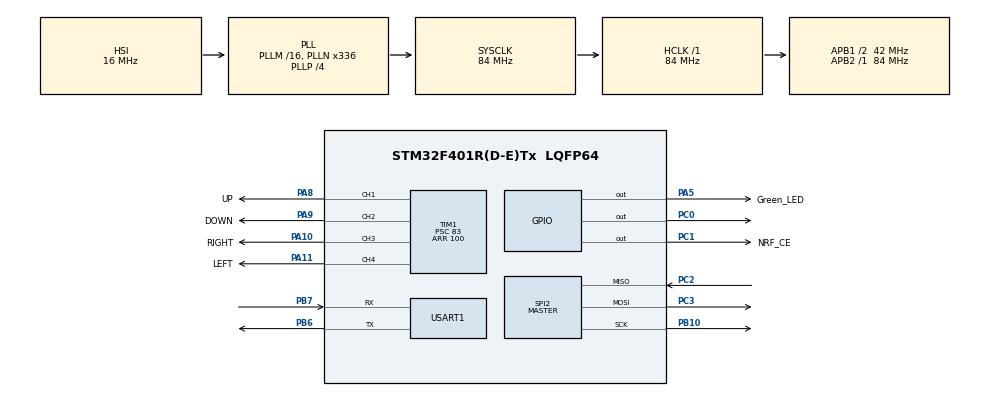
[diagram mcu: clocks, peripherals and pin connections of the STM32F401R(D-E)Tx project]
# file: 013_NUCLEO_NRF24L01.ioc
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Mcu.Family=STM32F4
Mcu.Name=STM32F401R(D-E)Tx
Mcu.Package=LQFP64
NVIC.PriorityGroup=NVIC_PRIORITYGROUP_0
NVIC.SPI2_IRQn=true\:0\:0\:false\:false\:true\:true\:true
PA10.GPIO_Label=RIGHT
PA10.Signal=S_TIM1_CH3
PA11.GPIO_Label=LEFT
PA11.Signal=S_TIM1_CH4
PA5.GPIO_Label=Green_LED
PA5.GPIO_PuPd=GPIO_NOPULL
PA5.GPIO_Speed=GPIO_SPEED_FREQ_LOW
PA5.Signal=GPIO_Output
PA8.GPIO_Label=UP
PA8.Signal=S_TIM1_CH1
PA9.GPIO_Label=DOWN
PA9.Signal=S_TIM1_CH2
PB10.Mode=Full_Duplex_Master
PB10.Signal=SPI2_SCK
PB6.Mode=Asynchronous
PB6.Signal=USART1_TX
PB7.Mode=Asynchronous
PB7.Signal=USART1_RX
PC0.Signal=GPIO_Output
PC1.GPIO_Label=NRF_CE
PC1.Signal=GPIO_Output
PC2.Mode=Full_Duplex_Master
PC2.Signal=SPI2_MISO
PC3.Mode=Full_Duplex_Master
PC3.Signal=SPI2_MOSI
ProjectManager.HeapSize=0x200
ProjectManager.StackSize=0x400
ProjectManager.TargetToolchain=MDK-ARM V5.32
RCC.AHBFreq_Value=84000000
RCC.APB1CLKDivider=RCC_HCLK_DIV2
RCC.APB1Freq_Value=42000000
RCC.APB1TimFreq_Value=84000000
RCC.APB2Freq_Value=84000000
RCC.APB2TimFreq_Value=84000000
RCC.CortexFreq_Value=84000000
RCC.HCLKFreq_Value=84000000
RCC.HSE_VALUE=8000000
RCC.HSI_VALUE=16000000
RCC.LSE_VALUE=32768
RCC.PLLN=336
RCC.PLLP=RCC_PLLP_DIV4
RCC.PLLQ=7
RCC.SYSCLKFreq_VALUE=84000000
RCC.SYSCLKSource=RCC_SYSCLKSOURCE_PLLCLK
RCC.VCOOutputFreq_Value=336000000
SH.S_TIM1_CH1.0=TIM1_CH1,PWM Generation1 CH1
SH.S_TIM1_CH2.0=TIM1_CH2,PWM Generation2 CH2
SH.S_TIM1_CH3.0=TIM1_CH3,PWM Generation3 CH3
SH.S_TIM1_CH4.0=TIM1_CH4,PWM Generation4 CH4
SPI2.BaudRatePrescaler=SPI_BAUDRATEPRESCALER_8
SPI2.Direction=SPI_DIRECTION_2LINES
SPI2.Mode=SPI_MODE_MASTER
SPI2.VirtualType=VM_MASTER
TIM1.Channel-PWM\ Generation1\ CH1=TIM_CHANNEL_1
TIM1.Channel-PWM\ Generation2\ CH2=TIM_CHANNEL_2
TIM1.Channel-PWM\ Generation3\ CH3=TIM_CHANNEL_3
TIM1.Channel-PWM\ Generation4\ CH4=TIM_CHANNEL_4
TIM1.Period=100
TIM1.Prescaler=83
USART1.VirtualMode=VM_ASYNC
board=NUCLEO-F401RE

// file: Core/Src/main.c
/* USER CODE BEGIN Header */
/**
  ******************************************************************************
  * @file           : main.c
  * @brief          : Main program body
  ******************************************************************************
  * @attention
  *
  * <h2><center>&copy; Copyright (c) 2021 STMicroelectronics.
  * All rights reserved.</center></h2>
  *
  * This software component is licensed by ST under BSD 3-Clause license,
  * the "License"; You may not use this file except in compliance with the
  * License. You may obtain a copy of the License at:
  *                        opensource.org/licenses/BSD-3-Clause
  *
  ******************************************************************************
  */
/* USER CODE END Header */
#include "main.h"
#include "spi.h"
#include "tim.h"
#include "usart.h"
#include "gpio.h"

/* USER CODE BEGIN Includes */
#include "nrf24l01.h"
#include "pwm.h"

/* USER CODE END Includes */

/* USER CODE BEGIN PV */
  uint8_t RxAddresses[]={0xEE,0xDD,0xCC,0xBB,0xAA}; // based on datasheet. It has to be same with TxAdress on Transceiver
	uint8_t RxData[2]; //same with transmitted data packet

/* USER CODE END PV */

void SystemClock_Config(void);

int main(void)
{

  /* MCU Configuration--------------------------------------------------------*/

  /* Reset of all peripherals, Initializes the Flash interface and the Systick. */
  HAL_Init();

  /* Configure the system clock */
  SystemClock_Config();

  /* Initialize all configured peripherals */
  MX_GPIO_Init();
  MX_SPI2_Init();
  MX_USART1_UART_Init();
  MX_TIM1_Init();
  /* USER CODE BEGIN 2 */

	nrf24_Init(); //Init NRF24L01

  nrf24_RxMode(RxAddresses,10); //Set Nrf24L01 as Receiver

	//Starting alll channels of tim1
	HAL_TIM_PWM_Start(&htim1,TIM_CHANNEL_1);
	HAL_TIM_PWM_Start(&htim1,TIM_CHANNEL_2);
	HAL_TIM_PWM_Start(&htim1,TIM_CHANNEL_3);
	HAL_TIM_PWM_Start(&htim1,TIM_CHANNEL_4);

  /* USER CODE END 2 */

  /* Infinite loop */
  while (1)
  {

    /* USER CODE BEGIN 3 */

	if(isDataAvailable(1) == 1) //Check if data arrives
	{
		nrf24_Receive(RxData); //Take the received data and write to RxData

		//HAL_UART_Transmit(&huart1,RxData,strlen((char*)RxData),1000); //We can see the received data through the UART
	  //HAL_Delay(100);
    //HAL_GPIO_TogglePin(Green_LED_GPIO_Port,Green_LED_Pin);  // to see if there is communication
	  //HAL_Delay(100); //Wait for led

		Led_Pwm1(RxData[0]); //Set pwm for axis X
		Led_Pwm2(RxData[1]);// Set pwm for axis Y

	}

	else HAL_GPIO_WritePin(Green_LED_GPIO_Port,Green_LED_Pin,GPIO_PIN_SET); //if there is no communication

  }
  /* USER CODE END 3 */
}

void SystemClock_Config(void)
{
  RCC_OscInitTypeDef RCC_OscInitStruct = {0};
  RCC_ClkInitTypeDef RCC_ClkInitStruct = {0};

  /** Configure the main internal regulator output voltage
  */
  __HAL_RCC_PWR_CLK_ENABLE();
  __HAL_PWR_VOLTAGESCALING_CONFIG(PWR_REGULATOR_VOLTAGE_SCALE2);
  /** Initializes the RCC Oscillators according to the specified parameters
  * in the RCC_OscInitTypeDef structure.
  */
  RCC_OscInitStruct.OscillatorType = RCC_OSCILLATORTYPE_HSI;
  RCC_OscInitStruct.HSIState = RCC_HSI_ON;
  RCC_OscInitStruct.HSICalibrationValue = RCC_HSICALIBRATION_DEFAULT;
  RCC_OscInitStruct.PLL.PLLState = RCC_PLL_ON;
  RCC_OscInitStruct.PLL.PLLSource = RCC_PLLSOURCE_HSI;
  RCC_OscInitStruct.PLL.PLLM = 16;
  RCC_OscInitStruct.PLL.PLLN = 336;
  RCC_OscInitStruct.PLL.PLLP = RCC_PLLP_DIV4;
  RCC_OscInitStruct.PLL.PLLQ = 7;
  if (HAL_RCC_OscConfig(&RCC_OscInitStruct) != HAL_OK)
  {
    Error_Handler();
  }
  /** Initializes the CPU, AHB and APB buses clocks
  */
  RCC_ClkInitStruct.ClockType = RCC_CLOCKTYPE_HCLK|RCC_CLOCKTYPE_SYSCLK
                              |RCC_CLOCKTYPE_PCLK1|RCC_CLOCKTYPE_PCLK2;
  RCC_ClkInitStruct.SYSCLKSource = RCC_SYSCLKSOURCE_PLLCLK;
  RCC_ClkInitStruct.AHBCLKDivider = RCC_SYSCLK_DIV1;
  RCC_ClkInitStruct.APB1CLKDivider = RCC_HCLK_DIV2;
  RCC_ClkInitStruct.APB2CLKDivider = RCC_HCLK_DIV1;

  if (HAL_RCC_ClockConfig(&RCC_ClkInitStruct, FLASH_LATENCY_2) != HAL_OK)
  {
    Error_Handler();
  }
}

/* USER CODE BEGIN 4 */

void HAL_GPIO_EXTI_Callback(uint16_t GPIO_Pin)
{
	HAL_GPIO_WritePin(Green_LED_GPIO_Port,Green_LED_Pin,GPIO_PIN_SET);
}

/* USER CODE END 4 */

void Error_Handler(void)
{
  __disable_irq();
  while (1)
  {
  }
}

/************************ (C) COPYRIGHT STMicroelectronics *****END OF FILE****/
